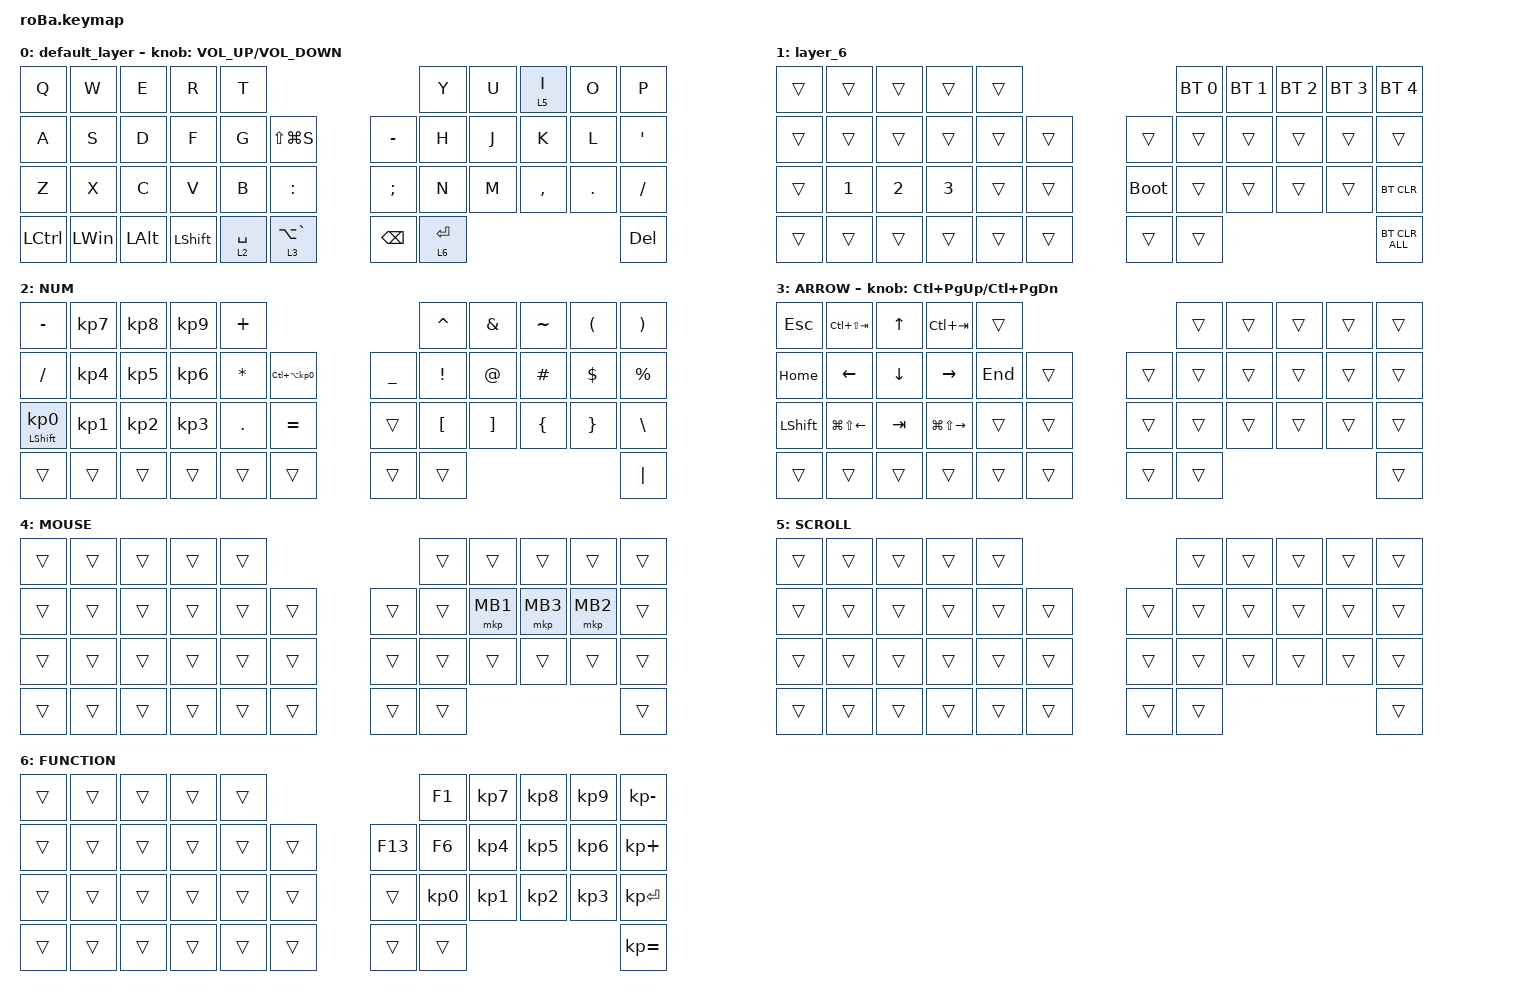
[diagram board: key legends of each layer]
#include <behaviors.dtsi>
#include <dt-bindings/zmk/bt.h>
#include <dt-bindings/zmk/keys.h>
#include <dt-bindings/zmk/pointing.h>

&mt {
    flavor = "balanced";
    quick-tap-ms = <0>;
};

&trackball {
    automouse-layer = <4>;
    scroll-layers = <5>;

    // arrows {
    //     layers = <3>;
    //     bindings =
    //         <&kp RIGHT_ARROW>,
    //         <&kp LEFT_ARROW>,
    //         <&kp UP_ARROW>,
    //         <&kp DOWN_ARROW>;
    //     tick = <10>;
    //     wait-ms = <5>;
    //     tap-ms = <5>;
    // };
};

/ {
    combos {
        compatible = "zmk,combos";

        shift_tab {
            bindings = <&kp LS(TAB)>;
            key-positions = <12 13>;
        };

        double_quotation {
            bindings = <&kp DOUBLE_QUOTES>;
            key-positions = <20 21>;
        };

        eq {
            bindings = <&kp EQUAL>;
            key-positions = <24 25>;
        };

        tab {
            bindings = <&kp TAB>;
            key-positions = <32 33>;
        };
    };

    macros {
        to_layer_0: to_layer_0 {
            compatible = "zmk,behavior-macro-one-param";
            #binding-cells = <1>;
            bindings = <&to 0 &macro_param_1to1 &kp MACRO_PLACEHOLDER>;
            label = "TO_LAYER_0";
        };
    };

    behaviors {
        lt_to_layer_0: lt_to_layer_0 {
            compatible = "zmk,behavior-hold-tap";
            label = "LAYER_TAP_TO_0";
            bindings = <&mo>, <&to_layer_0>;

            #binding-cells = <2>;
            tapping-term-ms = <200>;
        };
    };

    keymap {
        compatible = "zmk,keymap";

        default_layer {
            bindings = <
&kp Q             &kp W         &kp E         &kp R           &kp T                                                       &kp Y        &kp U  &lt 5 I    &kp O    &kp P
&kp A             &kp S         &kp D         &kp F           &kp G        &kp LS(LG(S))                   &kp MINUS      &kp H        &kp J  &kp K      &kp L    &kp SQT
&kp Z             &kp X         &kp C         &kp V           &kp B        &kp COLON                       &kp SEMICOLON  &kp N        &kp M  &kp COMMA  &kp DOT  &kp SLASH
&kp LEFT_CONTROL  &kp LEFT_WIN  &kp LEFT_ALT  &kp LEFT_SHIFT  &lt 2 SPACE  &lt_to_layer_0 3 LA(GRAVE)      &kp BACKSPACE  &lt 6 ENTER                             &kp DEL
            >;

            sensor-bindings = <&inc_dec_kp C_VOLUME_UP C_VOLUME_DOWN>;
        };

        layer_6 {
            bindings = <
&trans  &trans        &trans        &trans        &trans                           &bt BT_SEL 0  &bt BT_SEL 1  &bt BT_SEL 2  &bt BT_SEL 3  &bt BT_SEL 4
&trans  &trans        &trans        &trans        &trans  &trans      &trans       &trans        &trans        &trans        &trans        &trans
&trans  &kp NUMBER_1  &kp NUMBER_2  &kp NUMBER_3  &trans  &trans      &bootloader  &trans        &trans        &trans        &trans        &bt BT_CLR
&trans  &trans        &trans        &trans        &trans  &trans      &trans       &trans                                                  &bt BT_CLR_ALL
            >;
        };

        NUM {
            bindings = <
&kp MINUS                   &kp KP_NUMBER_7  &kp KP_NUMBER_8  &kp KP_NUMBER_9  &kp PLUS                                                   &kp CARET         &kp AMPERSAND      &kp TILDE       &kp LEFT_PARENTHESIS  &kp RIGHT_PARENTHESIS
&kp SLASH                   &kp KP_NUMBER_4  &kp KP_NUMBER_5  &kp KP_NUMBER_6  &kp ASTERISK  &kp LC(LA(KP_NUMBER_0))      &kp UNDERSCORE  &kp EXCLAMATION   &kp AT_SIGN        &kp HASH        &kp DOLLAR            &kp PERCENT
&mt LEFT_SHIFT KP_NUMBER_0  &kp KP_NUMBER_1  &kp KP_NUMBER_2  &kp KP_NUMBER_3  &kp PERIOD    &kp EQUAL                    &trans          &kp LEFT_BRACKET  &kp RIGHT_BRACKET  &kp LEFT_BRACE  &kp RIGHT_BRACE       &kp BACKSLASH
&trans                      &trans           &trans           &trans           &trans        &trans                       &trans          &trans                                                                     &kp PIPE
            >;
        };

        ARROW {
            bindings = <
&kp ESCAPE      &kp LC(LS(TAB))         &kp UP_ARROW    &kp LC(TAB)              &trans                       &trans  &trans  &trans  &trans  &trans
&kp HOME        &kp LEFT_ARROW          &kp DOWN_ARROW  &kp RIGHT_ARROW          &kp END  &trans      &trans  &trans  &trans  &trans  &trans  &trans
&kp LEFT_SHIFT  &kp LG(LS(LEFT_ARROW))  &kp TAB         &kp LG(LS(RIGHT_ARROW))  &trans   &trans      &trans  &trans  &trans  &trans  &trans  &trans
&trans          &trans                  &trans          &trans                   &trans   &trans      &trans  &trans                          &trans
            >;

            sensor-bindings = <&inc_dec_kp LC(PAGE_UP) LC(PAGE_DOWN)>;
        };

        MOUSE {
            bindings = <
&trans  &trans  &trans  &trans  &trans                      &trans  &trans    &trans    &trans    &trans
&trans  &trans  &trans  &trans  &trans  &trans      &trans  &trans  &mkp MB1  &mkp MB3  &mkp MB2  &trans
&trans  &trans  &trans  &trans  &trans  &trans      &trans  &trans  &trans    &trans    &trans    &trans
&trans  &trans  &trans  &trans  &trans  &trans      &trans  &trans                                &trans
            >;
        };

        SCROLL {
            bindings = <
&trans  &trans  &trans  &trans  &trans                      &trans  &trans  &trans  &trans  &trans
&trans  &trans  &trans  &trans  &trans  &trans      &trans  &trans  &trans  &trans  &trans  &trans
&trans  &trans  &trans  &trans  &trans  &trans      &trans  &trans  &trans  &trans  &trans  &trans
&trans  &trans  &trans  &trans  &trans  &trans      &trans  &trans                          &trans
            >;
        };

        FUNCTION {
            bindings = <
&trans  &trans  &trans  &trans  &trans                       &kp F1     &kp KP_NUMBER_7  &kp KP_N8  &kp KP_N9  &kp KP_MINUS
&trans  &trans  &trans  &trans  &trans  &trans      &kp F13  &kp F6     &kp KP_N4        &kp KP_N5  &kp KP_N6  &kp KP_PLUS
&trans  &trans  &trans  &trans  &trans  &trans      &trans   &kp KP_N0  &kp KP_N1        &kp KP_N2  &kp KP_N3  &kp KP_ENTER
&trans  &trans  &trans  &trans  &trans  &trans      &trans   &trans                                            &kp KP_EQUAL
            >;
        };
    };
};
